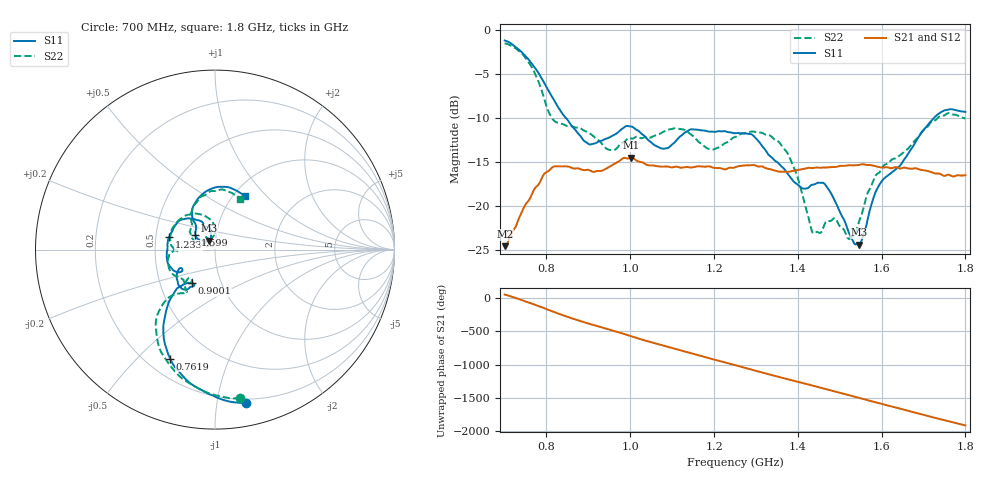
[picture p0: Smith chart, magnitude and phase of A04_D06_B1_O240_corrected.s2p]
! Created with skrf 1.9.0 (http://scikit-rf.org).
# Hz S RI R 50.0
!freq ReS11 ImS11 ReS21 ImS21 ReS12 ImS12 ReS22 ImS22
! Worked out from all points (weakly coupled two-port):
!   1601 points, 700 MHz to 1.8 GHz, reference 50 ohm
!   highest |S21| = -14.49 dB at 1.002 GHz (marker M1); lowest = -24.5 dB at 700.7 MHz (marker M2)
!   lowest |S11| = -24.4 dB at 1.546 GHz (marker M3), VSWR 1.13, Z = 46.4 + j4.62 ohm
!   |S11| at or under -10 dB: 846.9 MHz to 1.724 GHz (877.5 MHz wide, 68.3 % of centre)
!   |S22| runs from -23.7 to -1.5 dB; largest |S21 - S12| = 0.0035
!   S11 on the Smith chart (normalised r, x): 700 MHz: 0.17, -1.21; 761.9 MHz: 0.29, -0.63; 900.1 MHz: 0.73, -0.29; 1.233 GHz: 0.59, +0.09; 1.599 GHz: 0.79, +0.13; 1.8 GHz: 1.12, +0.76
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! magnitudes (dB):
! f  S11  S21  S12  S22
! 700 MHz  -1.2  -24.5  -24.3  -1.5
! 700.7 MHz  -1.2  -24.5  -24.2  -1.5
! 761.9 MHz  -3.7  -19.0  -18.9  -4.0
! 815.5 MHz  -7.8  -15.5  -15.6  -10.2
! 883.6 MHz  -12.2  -15.8  -15.7  -11.2
! 900.1 MHz  -12.9  -15.9  -15.9  -11.6
! 953 MHz  -12.1  -15.4  -15.4  -13.6
! 1.002 GHz  -10.9  -14.5  -14.6  -12.3
! 1.067 GHz  -13.3  -15.5  -15.4  -11.8
! 1.145 GHz  -11.3  -15.6  -15.6  -11.8
! 1.233 GHz  -11.6  -15.7  -15.7  -12.7
! 1.25 GHz  -11.7  -15.6  -15.5  -12.1
! 1.357 GHz  -15.3  -16.1  -16.0  -12.8
! 1.395 GHz  -17.4  -15.9  -15.9  -16.1
! 1.434 GHz  -17.6  -15.7  -15.6  -22.8
! 1.467 GHz  -17.6  -15.6  -15.6  -21.8
! 1.524 GHz  -23.2  -15.3  -15.3  -23.7
! 1.546 GHz  -24.4  -15.3  -15.3  -21.6
! 1.599 GHz  -17.3  -15.6  -15.6  -15.9
! 1.617 GHz  -16.4  -15.6  -15.6  -15.1
! 1.733 GHz  -9.6  -16.3  -16.3  -10.0
! 1.8 GHz  -9.3  -16.5  -16.5  -10.0
